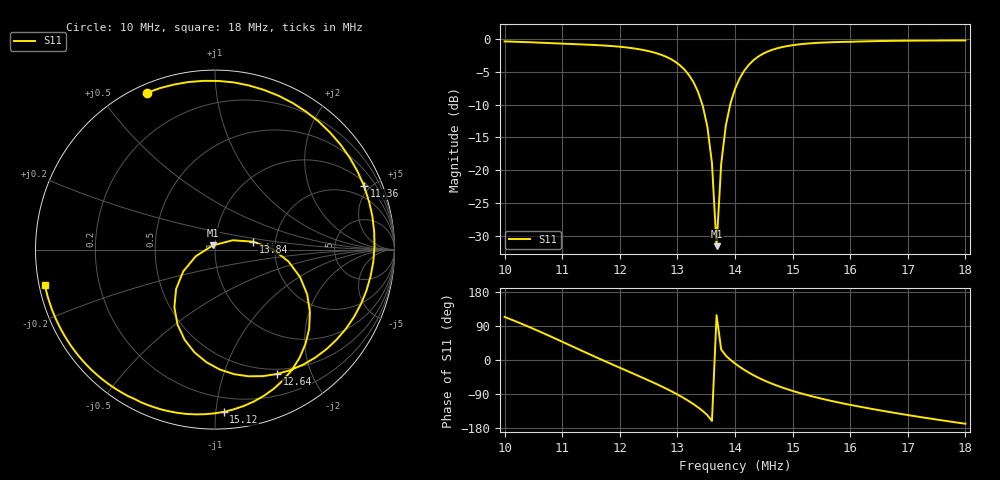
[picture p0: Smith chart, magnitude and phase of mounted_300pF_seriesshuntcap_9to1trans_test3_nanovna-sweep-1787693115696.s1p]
! S11 from mounted_300pF_seriesshuntcap_9to1trans_test3_nanovna-sweep-1787693115696.csv, converted by the rf-network-modeller history importer
# HZ S RI R 50
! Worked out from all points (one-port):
!   101 points, 10 MHz to 18 MHz, reference 50 ohm
!   lowest |S11| = -31.5 dB at 13.68 MHz (marker M1), VSWR 1.05, Z = 48.7 + j2.28 ohm
!   |S11| at or under -10 dB: 13.43 MHz to 13.92 MHz (484.5 kHz wide, 3.54 % of centre)
!   S11 on the Smith chart (normalised r, x): 10 MHz: 0.03, +0.65; 11.36 MHz: 1.20, +4.60; 12.64 MHz: 0.44, -1.52; 13.84 MHz: 1.54, +0.14; 15.12 MHz: 0.10, -1.05; 18 MHz: 0.02, -0.10
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1e7  -0.3813 0.8727
1.032e7  -0.065 0.9401
1.056e7  0.1889 0.9146
1.08e7  0.433 0.8166
1.104e7  0.6417 0.6516
1.136e7  0.8305 0.3539
1.168e7  0.8887 0.0169
1.2e7  0.8135 -0.3027
1.232e7  0.622 -0.5539
1.264e7  0.3446 -0.6931
1.288e7  0.1064 -0.6941
1.304e7  -0.0469 -0.6282
1.336e7  -0.2264 -0.3215
1.352e7  -0.1772 -0.1221
1.36e7  -0.1074 -0.0373
1.368e7  -0.0127 0.0234
1.376e7  0.0987 0.0519
1.384e7  0.214 0.0441
1.4e7  0.4092 -0.0661
1.416e7  0.5136 -0.2496
1.44e7  0.5037 -0.527
1.472e7  0.3272 -0.7754
1.504e7  0.1039 -0.8902
1.512e7  0.0487 -0.9042
1.552e7  -0.2048 -0.9103
1.6e7  -0.4487 -0.832
1.704e7  -0.8023 -0.5361
1.8e7  -0.9481 -0.1978
